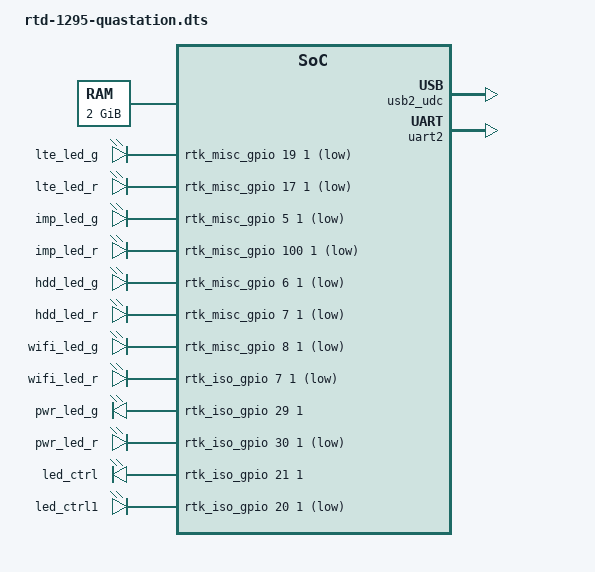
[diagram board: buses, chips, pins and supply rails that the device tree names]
/dts-v1/;
#include <dt-bindings/soc/rtd129x,memory.h>

/* 0x00000000 ~ 0x000fffff */
/memreserve/ SYS_BOOTCODE_MEMBASE SYS_BOOTCODE_MEMSIZE;
/* 0x0001f000 ~ 0x0001ffff */
/memreserve/ RPC_COMM_PHYS RPC_COMM_SIZE;
/* 0x01ffe000 ~ 0x02001fff */
/memreserve/ RPC_RINGBUF_PHYS RPC_RINGBUF_SIZE;
/* 0x02200000 ~ 0x025fffff */
/memreserve/ ROOTFS_NORMAL_START ROOTFS_NORMAL_SIZE;
/* 0x02600000 ~ 0x031fffff */
/memreserve/ ION_AUDIO_HEAP_PHYS ION_AUDIO_HEAP_SIZE;
/* 0x03200000 ~ 0x0e9fffff */
/memreserve/ ION_MEDIA_HEAP_PHYS1 ION_MEDIA_HEAP_SIZE1;
/* 0x10000000 ~ 0x10013fff */
/memreserve/ ACPU_IDMEM_PHYS ACPU_IDMEM_SIZE;
/* 0x14200000 ~ 0x1d3fffff */
/memreserve/ ION_MEDIA_HEAP_PHYS2 ION_MEDIA_HEAP_SIZE2;

#include "rtd-1295.dtsi"
#include "rtd-1295-giraffe-common.dtsi"

/ {
	chosen {
		linux,initrd-start = <ROOTFS_NORMAL_START>;
		linux,initrd-end = <ROOTFS_NORMAL_END>;
		bootargs = "earlycon=uart8250,mmio32,0x98007800 console=ttyS0,115200 init=/init androidboot.hardware=kylin androidboot.storage=emmc loglevel=4";
	};

	/*
	 * NOTE:
	 * <flag size base>
	 * flag: reserved
	 * size: unit is byte
	 * base: unit is byte
	 *
	 * Array size not over 8;
	 * You may change the max array size in KConfig,
	 * max CMA array size is CONFIG_CMA_AREAS+1.
	 *
	 * If cma-region-enable is enabled<1>,
	 * kernel driver will use cma-region-info to initial CMA memory.
	 *
	 * If cma-region-enable is disabled<0>,
	 * kernel driver will use cma= to initial CMA memory.
	 *
	 * if both setting is loaded, cma-region-info had higher priority.
	 */
	chosen {
		cma-region-enable = <1>;
		cma-region-info = <0x00000000 0x02000000 0x20000000>;
		/*cma-region-info = <0x00000000 0x01000000 0x12c00000>,
			<0x00000000 0x12c00000 0x20000000>;*/
	};

	memory@0 {
		device_type = "memory";
		reg = <0 0x80000000>; /* 2048 MB */
	};

	reserved-memory {
		#address-cells = <1>;
		#size-cells = <1>;
		ranges;

		rbus@0 {
			compatible = "rsvmem-remap";
			save_remap_name = "rbus";
			reg = <RBUS_BASE_PHYS RBUS_BASE_SIZE>;
			rtk_rbus_barrier_flag;
		};

		common@0 {
			compatible = "rsvmem-remap";
			save_remap_name = "common";
			reg = <RPC_COMM_PHYS RPC_COMM_SIZE>;
		};

		ringbuf@0 {
			compatible = "rsvmem-remap";
			save_remap_name = "ringbuf";
			reg = <RPC_RINGBUF_PHYS RPC_RINGBUF_SIZE>;
		};
	};

	rtk,ion {
		rtk,ion-heap@8 { /* Audio */
			compatible = "Realtek,rtk-ion-reserve";
			reg = <8>;
			rtk,memory-reserve = <
				ION_AUDIO_HEAP_PHYS
				ION_AUDIO_HEAP_SIZE
				ION_AUDIO_HEAP_FLAG>;
		};

		rtk,ion-heap@7 { /* TYPE_MEDIA */
			compatible = "Realtek,rtk-ion-reserve";
			reg = <7>;
			rtk,memory-reserve = <
				ION_MEDIA_HEAP_PHYS1
				ION_MEDIA_HEAP_SIZE1
				ION_MEDIA_HEAP_FLAG1
				ION_MEDIA_HEAP_PHYS2
				ION_MEDIA_HEAP_SIZE2
				ION_MEDIA_HEAP_FLAG2>;
		};
	};

	/delete-node/ smartcard@9801BE00;

	usb2_udc: usb2_udc@981E0000 {
		status = "okay";
	};

	rtk_iso_gpio: rtk_iso_gpio@98007100 {
		gpios = <&rtk_iso_gpio 21 1 0>; /* igpio21, output, default low */
	};

	uart0: serial0@98007800 {
		/delete-property/ status;
	};

	uart1: serial1@9801B200 {
		/delete-property/ status;
	};

	uart2: serial2@9801B400 {
		status = "okay";
	};

	i2c_1: i2c@0x98007C00 {
		status = "disabled";
	};

	i2c_4: i2c@0x9801BA00 {
		status = "disabled";
	};

	rtk_fan: rtk_fan@9801BC00 {
		status = "okay";
	};

	rfkill: rfkilligpio {
		gpios = <&rtk_misc_gpio 63 1 0>; /* bt power, output, default low */
		status = "okay";
	};

	/* Qua Station Pinctrl */
	pinctrl: pinctrl@9801A000 {
		pinctrl-0 = <&sdcard_pins_low>,
			<&sdcard_pins_high>,
			/* Commented out for successful booting */
			/*<&uart0_pins>,*/
			<&uart1_pins>,
			<&uart2_pins_0>,
			<&i2c_pins_0>,
			<&i2c_pins_5>,
			<&i2c_pins_6>,
			/* Commented out since Wi-Fi didn't work */
			/*<&pcie1_clk_pins>,
			<&pcie2_clk_pins>,*/
			<&rgmii0_pins>,
			<&ir_rx_pins>,
			<&ir_tx_pins>,
			<&spi_pins_loc_spi>,
			<&dc_fan_sensor_pins>,
			<&etn_led_pins>;
	};

	/* Qua Station GPIO Buttons */
	gpio-btns {
		compatible = "Askey,gpio-btns";
		RESET {
			gpios = <&rtk_iso_gpio 18 0 0>;
		};
		WPS {
			gpios = <&rtk_iso_gpio 31 0 0>;
		};
		IMPORT {
			gpios = <&rtk_iso_gpio 32 0 0>;
		};
		POWER {
			gpios = <&rtk_iso_gpio 8 0 0>;
		};
	};

	/* Qua Station LEDs */
	leds {
		compatible = "gpio-leds";
		lte_led_g {
			gpios = <&rtk_misc_gpio 19 1 1>;
			default-state = "on";
			status = "okay";
		};

		lte_led_r {
			gpios = <&rtk_misc_gpio 17 1 1>;
			default-state = "on";
			status = "okay";
		};

		imp_led_g {
			gpios = <&rtk_misc_gpio 5 1 1>;
			default-state = "on";
			status = "okay";
		};

		imp_led_r {
			gpios = <&rtk_misc_gpio 100 1 1>;
			default-state = "on";
			status = "okay";
		};

		hdd_led_g {
			gpios = <&rtk_misc_gpio 6 1 1>;
			default-state = "on";
			status = "okay";
		};

		hdd_led_r {
			gpios = <&rtk_misc_gpio 7 1 1>;
			default-state = "on";
			status = "okay";
		};

		wifi_led_g {
			gpios = <&rtk_misc_gpio 8 1 1>;
			default-state = "on";
			status = "okay";
		};

		wifi_led_r {
			gpios = <&rtk_iso_gpio 7 1 1>;
			default-state = "on";
			status = "okay";
		};

		pwr_led_g {
			gpios = <&rtk_iso_gpio 29 1 0>;
			default-state = "off";
			status = "okay";
			linux,default-trigger = "timer";
		};

		pwr_led_r {
			gpios = <&rtk_iso_gpio 30 1 1>;
			default-state = "on";
			status = "okay";
		};

		led_ctrl {
			gpios = <&rtk_iso_gpio 21 1 0>;
			default-state = "off";
			status = "okay";
		};

		led_ctrl1 {
			gpios = <&rtk_iso_gpio 20 1 1>;
			default-state = "on";
			status = "okay";
		};
	};
};

